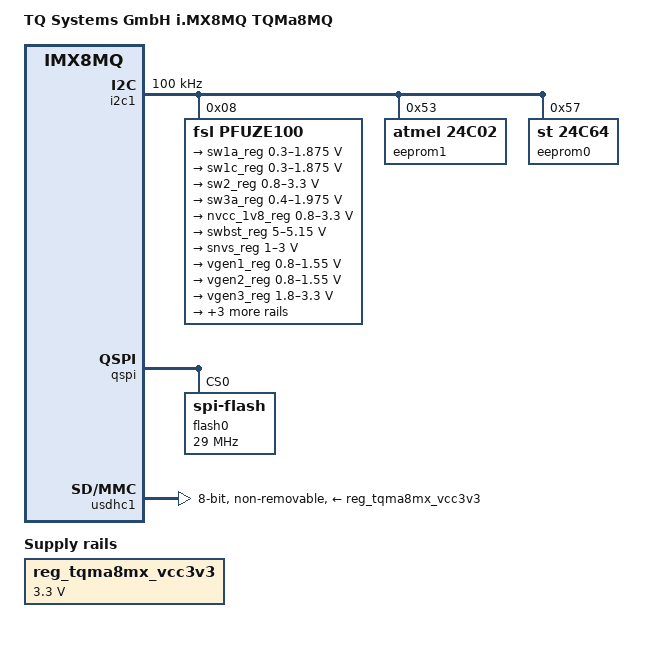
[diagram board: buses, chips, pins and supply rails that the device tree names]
// SPDX-License-Identifier: GPL-2.0+
/*
 * Copyright 2019 - 2020 TQ Systems GmbH
 */

/* First 128KB is for PSCI ATF. */
/memreserve/ 0x40000000 0x00020000;

#include "fsl-imx8mq.dtsi"

/ {
	model = "TQ Systems GmbH i.MX8MQ TQMa8MQ";
	compatible = "tq,imx8mq-tqma8mq", "fsl,imx8mq";

	chosen {
	};

	config {
		/* 32 kiB redundant env */
		u-boot,mmc-env-offset = <0x400000>;
		u-boot,mmc-env-offset-redundant = <0x408000>;
	};

	reg_tqma8mx_vcc3v3: regulator-vcc3v3 {
		compatible = "regulator-fixed";
		regulator-name = "TQMA8MX_VCC3V3";
		regulator-min-microvolt = <3300000>;
		regulator-max-microvolt = <3300000>;
		regulator-always-on;
	};
};

&iomuxc {
	pinctrl-names = "default";
	pinctrl-0 = <&pinctrl_wdog>;

	pinctrl_i2c1: i2c1grp {
		fsl,pins = <
			MX8MQ_IOMUXC_I2C1_SCL_I2C1_SCL			0x4000007f
			MX8MQ_IOMUXC_I2C1_SDA_I2C1_SDA			0x4000007f
		>;
	};

	pinctrl_qspi: qspigrp {
		fsl,pins = <
			MX8MQ_IOMUXC_NAND_ALE_QSPI_A_SCLK		0x97
			MX8MQ_IOMUXC_NAND_CE0_B_QSPI_A_SS0_B		0x82
			MX8MQ_IOMUXC_NAND_DATA00_QSPI_A_DATA0		0x97
			MX8MQ_IOMUXC_NAND_DATA01_QSPI_A_DATA1		0x97
			MX8MQ_IOMUXC_NAND_DATA02_QSPI_A_DATA2		0x97
			MX8MQ_IOMUXC_NAND_DATA03_QSPI_A_DATA3		0x97
		>;
	};

	pinctrl_usdhc1: usdhc1grp {
		fsl,pins = <
			MX8MQ_IOMUXC_SD1_CLK_USDHC1_CLK			0x83
			MX8MQ_IOMUXC_SD1_CMD_USDHC1_CMD			0xc3
			MX8MQ_IOMUXC_SD1_DATA0_USDHC1_DATA0		0xc3
			MX8MQ_IOMUXC_SD1_DATA1_USDHC1_DATA1		0xc3
			MX8MQ_IOMUXC_SD1_DATA2_USDHC1_DATA2		0xc3
			MX8MQ_IOMUXC_SD1_DATA3_USDHC1_DATA3		0xc3
			MX8MQ_IOMUXC_SD1_DATA4_USDHC1_DATA4		0xc3
			MX8MQ_IOMUXC_SD1_DATA5_USDHC1_DATA5		0xc3
			MX8MQ_IOMUXC_SD1_DATA6_USDHC1_DATA6		0xc3
			MX8MQ_IOMUXC_SD1_DATA7_USDHC1_DATA7		0xc3
			MX8MQ_IOMUXC_SD1_STROBE_USDHC1_STROBE 		0x83
			MX8MQ_IOMUXC_SD1_RESET_B_USDHC1_RESET_B		0xc1
		>;
	};

	pinctrl_usdhc1_100mhz: usdhc1grp100mhz {
		fsl,pins = <
			MX8MQ_IOMUXC_SD1_CLK_USDHC1_CLK			0x85
			MX8MQ_IOMUXC_SD1_CMD_USDHC1_CMD			0xc5
			MX8MQ_IOMUXC_SD1_DATA0_USDHC1_DATA0		0xc5
			MX8MQ_IOMUXC_SD1_DATA1_USDHC1_DATA1		0xc5
			MX8MQ_IOMUXC_SD1_DATA2_USDHC1_DATA2		0xc5
			MX8MQ_IOMUXC_SD1_DATA3_USDHC1_DATA3		0xc5
			MX8MQ_IOMUXC_SD1_DATA4_USDHC1_DATA4		0xc5
			MX8MQ_IOMUXC_SD1_DATA5_USDHC1_DATA5		0xc5
			MX8MQ_IOMUXC_SD1_DATA6_USDHC1_DATA6		0xc5
			MX8MQ_IOMUXC_SD1_DATA7_USDHC1_DATA7		0xc5
			MX8MQ_IOMUXC_SD1_STROBE_USDHC1_STROBE 		0x85
			MX8MQ_IOMUXC_SD1_RESET_B_USDHC1_RESET_B		0xc1
		>;
	};

	pinctrl_usdhc1_200mhz: usdhc1grp200mhz {
		fsl,pins = <
			MX8MQ_IOMUXC_SD1_CLK_USDHC1_CLK			0x87
			MX8MQ_IOMUXC_SD1_CMD_USDHC1_CMD			0xc7
			MX8MQ_IOMUXC_SD1_DATA0_USDHC1_DATA0		0xc7
			MX8MQ_IOMUXC_SD1_DATA1_USDHC1_DATA1		0xc7
			MX8MQ_IOMUXC_SD1_DATA2_USDHC1_DATA2		0xc7
			MX8MQ_IOMUXC_SD1_DATA3_USDHC1_DATA3		0xc7
			MX8MQ_IOMUXC_SD1_DATA4_USDHC1_DATA4		0xc7
			MX8MQ_IOMUXC_SD1_DATA5_USDHC1_DATA5		0xc7
			MX8MQ_IOMUXC_SD1_DATA6_USDHC1_DATA6		0xc7
			MX8MQ_IOMUXC_SD1_DATA7_USDHC1_DATA7		0xc7
			MX8MQ_IOMUXC_SD1_STROBE_USDHC1_STROBE 		0x87
			MX8MQ_IOMUXC_SD1_RESET_B_USDHC1_RESET_B		0xc1
		>;
	};

	pinctrl_wdog: wdoggrp {
		fsl,pins = <
			MX8MQ_IOMUXC_GPIO1_IO02_WDOG1_WDOG_B		0xc6
		>;
	};
};

&i2c1 {
	clock-frequency = <100000>;
	pinctrl-names = "default";
	pinctrl-0 = <&pinctrl_i2c1>;
	status = "okay";

	pfuze100: pmic@8 {
		compatible = "fsl,pfuze100";
		reg = <0x8>;

		regulators {
			sw1a_reg: sw1ab {
				regulator-min-microvolt = <300000>;
				regulator-max-microvolt = <1875000>;
				regulator-always-on;
			};

			sw1c_reg: sw1c {
				regulator-min-microvolt = <300000>;
				regulator-max-microvolt = <1875000>;
				regulator-always-on;
			};

			sw2_reg: sw2 {
				regulator-min-microvolt = <800000>;
				regulator-max-microvolt = <3300000>;
				regulator-always-on;
			};

			sw3a_reg: sw3ab {
				regulator-min-microvolt = <400000>;
				regulator-max-microvolt = <1975000>;
				regulator-always-on;
			};

			nvcc_1v8_reg: sw4 {
				regulator-min-microvolt = <800000>;
				regulator-max-microvolt = <3300000>;
				regulator-always-on;
			};

			swbst_reg: swbst {
				regulator-min-microvolt = <5000000>;
				regulator-max-microvolt = <5150000>;
			};

			snvs_reg: vsnvs {
				regulator-min-microvolt = <1000000>;
				regulator-max-microvolt = <3000000>;
				regulator-always-on;
			};

			vref_reg: vrefddr {
				regulator-always-on;
			};

			vgen1_reg: vgen1 {
				regulator-min-microvolt = <800000>;
				regulator-max-microvolt = <1550000>;
			};

			vgen2_reg: vgen2 {
				regulator-min-microvolt = <800000>;
				regulator-max-microvolt = <1550000>;
				regulator-always-on;
			};

			vgen3_reg: vgen3 {
				regulator-min-microvolt = <1800000>;
				regulator-max-microvolt = <3300000>;
				regulator-always-on;
			};

			vgen4_reg: vgen4 {
				regulator-min-microvolt = <1800000>;
				regulator-max-microvolt = <3300000>;
				regulator-always-on;
			};

			vgen5_reg: vgen5 {
				regulator-min-microvolt = <1800000>;
				regulator-max-microvolt = <3300000>;
				regulator-always-on;
			};

			vgen6_reg: vgen6 {
				regulator-min-microvolt = <1800000>;
				regulator-max-microvolt = <3300000>;
			};
		};
	};

	eeprom1: eeprom@53 {
		compatible = "atmel,24c02";
		reg = <0x53>;
		pagesize = <16>;
		status = "okay";
	};

	eeprom0: eeprom@57 {
		compatible = "st,24c64", "atmel,24c64", "at24";
		reg = <0x57>;
		pagesize = <32>;
		status = "okay";
	};
};

&qspi {
	pinctrl-names = "default";
	pinctrl-0 = <&pinctrl_qspi>;
	status = "okay";

	flash0: flash@0 {
		reg = <0>;
		#address-cells = <1>;
		#size-cells = <1>;
		compatible = "spi-flash";
		spi-max-frequency = <29000000>;
		spi-nor,ddr-quad-read-dummy = <6>;
	};
};

&usdhc1 {
	pinctrl-names = "default", "state_100mhz", "state_200mhz";
	pinctrl-0 = <&pinctrl_usdhc1>;
	pinctrl-1 = <&pinctrl_usdhc1_100mhz>;
	pinctrl-2 = <&pinctrl_usdhc1_200mhz>;
	bus-width = <8>;
	non-removable;
	vmmc-supply = <&reg_tqma8mx_vcc3v3>;
	vqmmc-supply = <&nvcc_1v8_reg>;
	status = "okay";
};

/*
 * TODO: wdog not in DM yet, enable when ready and remove pin ctrl from hog
 */
&wdog1 {
	pinctrl-names = "default";
	pinctrl-0 = <&pinctrl_wdog>;
	fsl,ext-reset-output;
	status = "disabled";
};
